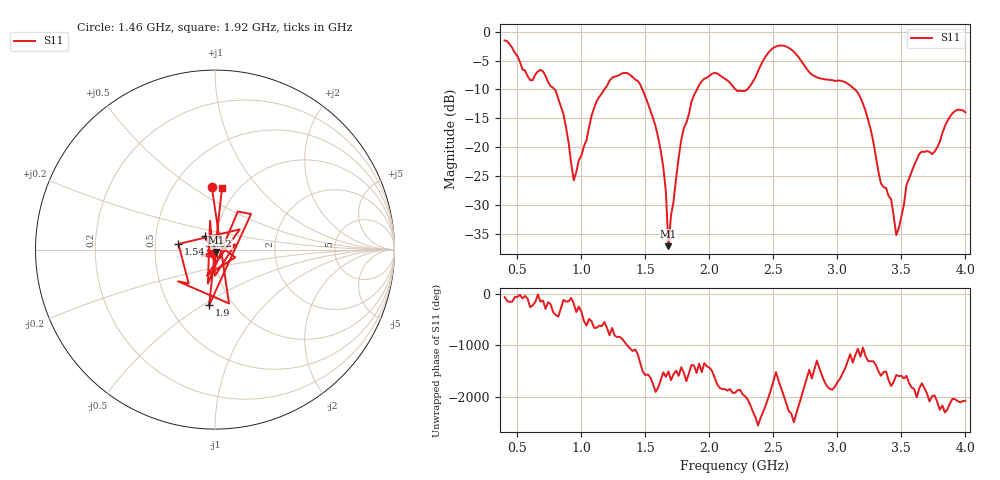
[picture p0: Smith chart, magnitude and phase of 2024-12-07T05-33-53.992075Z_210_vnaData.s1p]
!Created with skrf (http://scikit-rf.org).
# Hz S RI R 50.0
!freq ReS11 ImS11
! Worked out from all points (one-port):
!   181 points, 400 MHz to 4 GHz, reference 50 ohm
!   lowest |S11| = -37.2 dB at 1.68 GHz (marker M1), VSWR 1.03, Z = 50.5 - j1.28 ohm
!   |S11| at or under -10 dB: 790.5 MHz to 1.179 GHz (388.8 MHz wide, 39.5 % of centre); 1.477 GHz to 1.903 GHz (426.3 MHz wide, 25.2 % of centre); 3.137 GHz to end of sweep (the widest 3 of 4)
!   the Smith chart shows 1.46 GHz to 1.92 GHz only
!   S11 on the Smith chart (normalised r, x): 1.46 GHz: 0.76, +0.60; 1.54 GHz: 0.66, +0.04; 1.62 GHz: 0.89, +0.14; 1.9 GHz: 0.78, -0.53; 1.92 GHz: 0.85, +0.66
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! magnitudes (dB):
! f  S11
! 400 MHz  -1.5
! 600 MHz  -8.4
! 700 MHz  -6.9
! 860 MHz  -14.3
! 940 MHz  -25.8
! 1.12 GHz  -12.0
! 1.3 GHz  -7.4
! 1.46 GHz  -9.2
! 1.54 GHz  -13.7
! 1.62 GHz  -20.6
! 1.66 GHz  -27.7
! 1.68 GHz  -37.2
! 1.76 GHz  -21.8
! 1.9 GHz  -10.1
! 1.92 GHz  -9.2
! 2.04 GHz  -7.1
! 2.2 GHz  -9.9
! 2.3 GHz  -9.9
! 2.5 GHz  -2.8
! 2.66 GHz  -3.5
! 3.1 GHz  -9.3
! 3.22 GHz  -13.7
! 3.34 GHz  -26.3
! 3.42 GHz  -29.0
! 3.46 GHz  -35.3
! 3.56 GHz  -25.4
! 3.9 GHz  -14.1
! 4 GHz  -14.0
